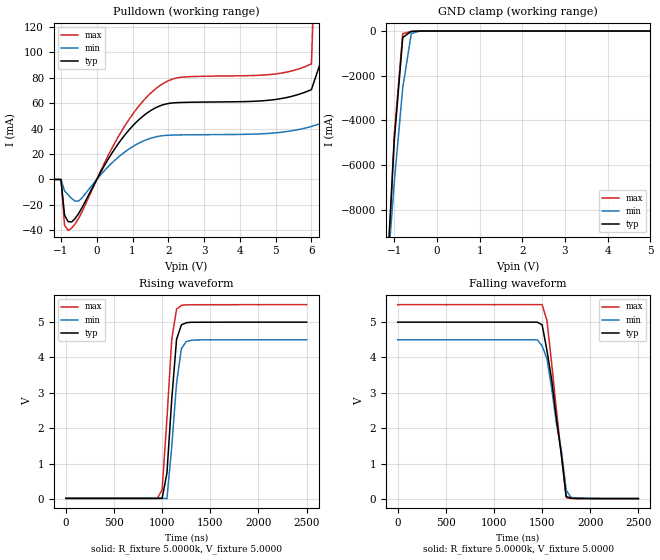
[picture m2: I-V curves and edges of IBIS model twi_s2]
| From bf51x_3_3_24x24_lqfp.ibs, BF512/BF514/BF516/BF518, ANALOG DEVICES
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[Model]   twi_s2
Model_type   I/O_open_drain
Polarity   Non-Inverting
Enable   Active-Low
Vinl =   1.5000V
Vinh =   3.5000V
Vmeas =   2.5000V
Cref =  50.0000pF
Rref =   5.0000k
Vref =   5.0000V
C_comp   7.1300pF   6.4200pF   7.8500pF
[Temperature Range]   25.0000   0.1250k   0.000
[Voltage Range]   5.0000V   4.5000V   5.5000V
[Pullup Reference]   5.0000V   4.5000V   5.5000V
[Pulldown Reference]   0.000V   0.000V   0.000V
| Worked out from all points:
|   slope of the pulldown table from 0 to 0.75 V, typ, clamps not added: 22.3 ohm
|   GND clamp passes 1 mA (typ) near -0.41 V on its own axis
|   rising waveform, R_fixture 5.0000k, V_fixture 5.0000: 20-80 % time 78.2ns typ, 86ns min, 76.3ns max; typ from 0.019 V to 5 V
|   falling waveform, R_fixture 5.0000k, V_fixture 5.0000: 20-80 % time 148ns typ, 149ns min, 129ns max; typ from 5 V to 0.019 V
[Pulldown]
| voltage   I(typ)   I(min)   I(max)
-5V       0A         0A         0A
-1V       0A         0A         0A
-900mV    -28mA      -9mA       -36mA
-800mV    -33.1mA    -12mA      -40.1mA
-500mV    -26.5mA    -16.85mA   -30.19mA
800mV     35.46mA    21.91mA    42.76mA
1.9V      59.03mA    34.52mA    76.06mA
5.8V      68.28mA    40.14mA    88.34mA
6V        70.54mA    41.57mA    90.77mA
6.4V      104.2mA    45.21mA    413.4mA
6.8V      5.51A      582.1mA    9.267A
10V       72.69A     43.95A     99.17A
[GND_clamp]
| voltage   I(typ)   I(min)   I(max)
-5V       -159A      -115.2A    -193.3A
-1.2V     -12A       -11.86A    -13.19A
-1V       -4.955A    -6.813A    -4.663A
-800mV    -286.3mA   -2.544A    -115.1mA
-600mV    -14.24mA   -110.4mA   -21.08mA
-400mV    -337.4uA   -1.132mA   -692.6uA
5V        752.6nA    627.7nA    1.205uA
[Ramp]
| variable   typ   min   max
dV/dt_r   2.9858/73.2983n   2.6824/75.4875n   3.2829/72.2951n
dV/dt_f   2.9863/0.1356u   2.6827/0.1337u   3.2829/0.1242u
R_load = 5.0000k
[Rising Waveform]
R_fixture = 5.0000k
V_fixture = 5.0000
V_fixture_min = 4.5000
V_fixture_max = 5.5000
L_fixture = 0.000H
C_fixture = 0.000F
| time   V(typ)   V(min)   V(max)
0s        18.65mV    26.38mV    17.56mV
950ns     18.65mV    26.38mV    17.56mV
1us       18.65mV    26.38mV    262.5mV
1.05us    738.9mV    10.58mV    2.277V
1.1us     2.826V     1.488V     4.514V
1.15us    4.514V     3.279V     5.364V
1.2us     4.918V     4.242V     5.47V
1.25us    4.979V     4.448V     5.485V
1.4us     4.993V     4.495V     5.487V
2.5us     4.995V     4.497V     5.489V
[Falling Waveform]
R_fixture = 5.0000k
V_fixture = 5.0000
V_fixture_min = 4.5000
V_fixture_max = 5.5000
L_fixture = 0.000H
C_fixture = 0.000F
| time   V(typ)   V(min)   V(max)
0s        4.996V     4.498V     5.489V
1.45us    4.996V     4.498V     5.489V
1.5us     4.921V     4.324V     5.489V
1.55us    4.2V       3.969V     5.043V
1.6us     3.361V     3.106V     3.808V
1.65us    2.244V     2.099V     2.481V
1.7us     1.257V     1.387V     1.231V
1.75us    81.89mV    258mV      43.35mV
1.8us     29.79mV    52.82mV    23.61mV
2.5us     18.78mV    26.95mV    17.57mV
